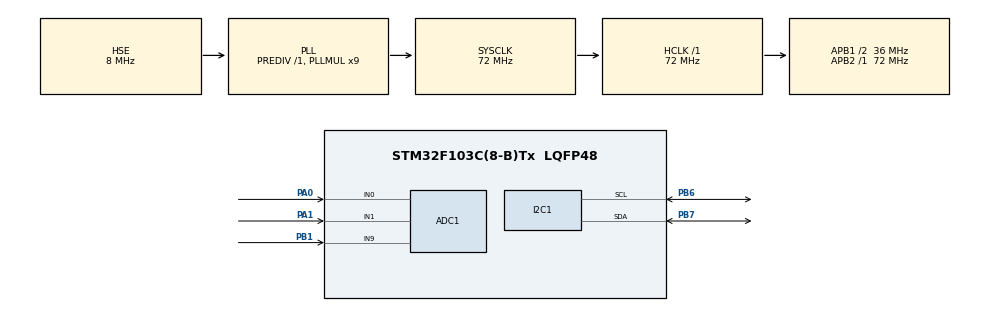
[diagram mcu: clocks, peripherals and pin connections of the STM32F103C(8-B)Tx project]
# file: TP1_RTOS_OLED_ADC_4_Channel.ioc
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ADC1.Channel-0\#ChannelRegularConversion=ADC_CHANNEL_0
ADC1.Channel-1\#ChannelRegularConversion=ADC_CHANNEL_1
ADC1.Channel-2\#ChannelRegularConversion=ADC_CHANNEL_9
ADC1.Channel-3\#ChannelRegularConversion=ADC_CHANNEL_TEMPSENSOR
ADC1.ContinuousConvMode=ENABLE
ADC1.NbrOfConversion=4
ADC1.NbrOfConversionFlag=1
ADC1.Rank-0\#ChannelRegularConversion=1
ADC1.Rank-1\#ChannelRegularConversion=2
ADC1.Rank-2\#ChannelRegularConversion=3
ADC1.Rank-3\#ChannelRegularConversion=4
ADC1.SamplingTime-0\#ChannelRegularConversion=ADC_SAMPLETIME_71CYCLES_5
ADC1.SamplingTime-1\#ChannelRegularConversion=ADC_SAMPLETIME_71CYCLES_5
ADC1.SamplingTime-2\#ChannelRegularConversion=ADC_SAMPLETIME_71CYCLES_5
ADC1.SamplingTime-3\#ChannelRegularConversion=ADC_SAMPLETIME_239CYCLES_5
ADC1.master=1
Dma.ADC1.0.Direction=DMA_PERIPH_TO_MEMORY
Dma.ADC1.0.Instance=DMA1_Channel1
Dma.ADC1.0.MemDataAlignment=DMA_MDATAALIGN_HALFWORD
Dma.ADC1.0.MemInc=DMA_MINC_ENABLE
Dma.ADC1.0.Mode=DMA_NORMAL
Dma.ADC1.0.PeriphDataAlignment=DMA_PDATAALIGN_HALFWORD
Dma.ADC1.0.PeriphInc=DMA_PINC_DISABLE
Dma.ADC1.0.Priority=DMA_PRIORITY_LOW
Dma.Request0=ADC1
FREERTOS.Queues01=QmsgScreen,16,uint16_t,0,Dynamic,NULL,NULL
FREERTOS.Tasks01=defaultTask,24,128,StartDefaultTask,Default,NULL,Dynamic,NULL,NULL;myTask02,8,128,ADC_Read,Default,NULL,Dynamic,NULL,NULL;myTask03,8,128,OLED_Update,Default,NULL,Dynamic,NULL,NULL
FREERTOS.configUSE_NEWLIB_REENTRANT=1
I2C1.I2C_Mode=I2C_Fast
Mcu.Family=STM32F1
Mcu.Name=STM32F103C(8-B)Tx
Mcu.Package=LQFP48
NVIC.DMA1_Channel1_IRQn=true\:5\:0\:false\:false\:true\:true\:false\:true\:true
NVIC.PriorityGroup=NVIC_PRIORITYGROUP_4
PA0-WKUP.Signal=ADCx_IN0
PA1.Signal=ADCx_IN1
PA13.Mode=Serial_Wire
PA13.Signal=SYS_JTMS-SWDIO
PA14.Mode=Serial_Wire
PA14.Signal=SYS_JTCK-SWCLK
PB1.Signal=ADCx_IN9
PB6.Mode=I2C
PB6.Signal=I2C1_SCL
PB7.Mode=I2C
PB7.Signal=I2C1_SDA
PD0-OSC_IN.Mode=HSE-External-Oscillator
PD0-OSC_IN.Signal=RCC_OSC_IN
PD1-OSC_OUT.Mode=HSE-External-Oscillator
PD1-OSC_OUT.Signal=RCC_OSC_OUT
ProjectManager.HeapSize=0x200
ProjectManager.StackSize=0x400
ProjectManager.TargetToolchain=STM32CubeIDE
RCC.ADCPresc=RCC_ADCPCLK2_DIV6
RCC.AHBFreq_Value=72000000
RCC.APB1CLKDivider=RCC_HCLK_DIV2
RCC.APB1Freq_Value=36000000
RCC.APB1TimFreq_Value=72000000
RCC.APB2Freq_Value=72000000
RCC.APB2TimFreq_Value=72000000
RCC.HCLKFreq_Value=72000000
RCC.PLLMUL=RCC_PLL_MUL9
RCC.PLLSourceVirtual=RCC_PLLSOURCE_HSE
RCC.SYSCLKFreq_VALUE=72000000
RCC.SYSCLKSource=RCC_SYSCLKSOURCE_PLLCLK
RCC.USBFreq_Value=72000000
SH.ADCx_IN0.0=ADC1_IN0,IN0
SH.ADCx_IN1.0=ADC1_IN1,IN1
SH.ADCx_IN9.0=ADC1_IN9,IN9
VP_ADC1_TempSens_Input.Mode=IN-TempSens
VP_FREERTOS_VS_CMSIS_V2.Mode=CMSIS_V2
board=custom

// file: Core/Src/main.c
/* USER CODE BEGIN Header */
/**
  ******************************************************************************
  * @file           : main.c
  * @brief          : Main program body
  ******************************************************************************
  * @attention
  *
  * Copyright (c) 2023 STMicroelectronics.
  * All rights reserved.
  *
  * This software is licensed under terms that can be found in the LICENSE file
  * in the root directory of this software component.
  * If no LICENSE file comes with this software, it is provided AS-IS.
  *
  ******************************************************************************
  */
/* USER CODE END Header */
#include "main.h"
#include "cmsis_os.h"
#include <stdio.h>

/* USER CODE BEGIN Includes */
#include "u8g_com_arm_stm32.h"
/* USER CODE END Includes */

ADC_HandleTypeDef hadc1;

I2C_HandleTypeDef hi2c1;

/* Definitions for defaultTask */
osThreadId_t defaultTaskHandle;
const osThreadAttr_t defaultTask_attributes = {
  .name = "defaultTask",
  .stack_size = 128 * 4,
  .priority = (osPriority_t) osPriorityNormal,
};
/* Definitions for myTask02 */
osThreadId_t myTask02Handle;
const osThreadAttr_t myTask02_attributes = {
  .name = "myTask02",
  .stack_size = 128 * 4,
  .priority = (osPriority_t) osPriorityLow,
};
/* Definitions for myTask03 */
osThreadId_t myTask03Handle;
const osThreadAttr_t myTask03_attributes = {
  .name = "myTask03",
  .stack_size = 128 * 4,
  .priority = (osPriority_t) osPriorityLow,
};
/* Definitions for QmsgScreen */
osMessageQueueId_t QmsgScreenHandle;
const osMessageQueueAttr_t QmsgScreen_attributes = {
  .name = "QmsgScreen"
};

void SystemClock_Config(void);
static void MX_GPIO_Init(void);
static void MX_ADC1_Init(void);
static void MX_I2C1_Init(void);
void StartDefaultTask(void *argument);
void ADC_Read(void *argument);
void OLED_Update(void *argument);

/* USER CODE BEGIN 0 */
void ADC_Select_CH0(void)
{
	ADC_ChannelConfTypeDef sConfig={0};

	sConfig.Channel = ADC_CHANNEL_0;
	sConfig.Rank = 1;
	sConfig.SamplingTime = ADC_SAMPLETIME_71CYCLES_5;
	if (HAL_ADC_ConfigChannel(&hadc1, &sConfig) != HAL_OK )
	{
		Error_Handler();
	}
}

void ADC_Select_CH1(void)
{
	ADC_ChannelConfTypeDef sConfig={0};

	sConfig.Channel = ADC_CHANNEL_1;
	sConfig.Rank = 1;
	sConfig.SamplingTime = ADC_SAMPLETIME_71CYCLES_5;
	if (HAL_ADC_ConfigChannel(&hadc1, &sConfig) != HAL_OK )
	{
		Error_Handler();
	}
}

void ADC_Select_CH9(void)
{
	ADC_ChannelConfTypeDef sConfig={0};

	sConfig.Channel = ADC_CHANNEL_9;
	sConfig.Rank = 1;
	sConfig.SamplingTime = ADC_SAMPLETIME_71CYCLES_5;
	if (HAL_ADC_ConfigChannel(&hadc1, &sConfig) != HAL_OK )
	{
		Error_Handler();
	}
}

void ADC_Select_CHTemp(void)
{
	ADC_ChannelConfTypeDef sConfig={0};

	sConfig.Channel = ADC_CHANNEL_TEMPSENSOR;
	sConfig.Rank = 1;
	sConfig.SamplingTime = ADC_SAMPLETIME_239CYCLES_5;
	if (HAL_ADC_ConfigChannel(&hadc1, &sConfig) != HAL_OK )
	{
		Error_Handler();
	}
}

uint16_t ADC_VAL[4];

#define Avg_Slope .0025
#define V25 0.76

float Temp = 0.0;
/* USER CODE END 0 */

int main(void)
{

  /* MCU Configuration--------------------------------------------------------*/

  /* Reset of all peripherals, Initializes the Flash interface and the Systick. */
  HAL_Init();

  /* Configure the system clock */
  SystemClock_Config();

  /* Initialize all configured peripherals */
  MX_GPIO_Init();
  MX_ADC1_Init();
  MX_I2C1_Init();

  /* Init scheduler */
  osKernelInitialize();

  /* Create the queue(s) */
  /* creation of QmsgScreen */
  QmsgScreenHandle = osMessageQueueNew (4, sizeof(uint16_t), &QmsgScreen_attributes);

  /* Create the thread(s) */
  /* creation of defaultTask */
  defaultTaskHandle = osThreadNew(StartDefaultTask, NULL, &defaultTask_attributes);

  /* creation of myTask02 */
  myTask02Handle = osThreadNew(ADC_Read, NULL, &myTask02_attributes);

  /* creation of myTask03 */
  myTask03Handle = osThreadNew(OLED_Update, NULL, &myTask03_attributes);

  /* Start scheduler */
  osKernelStart();

  /* We should never get here as control is now taken by the scheduler */
  /* Infinite loop */
  while (1)
  {

  }
}

void SystemClock_Config(void)
{
  RCC_OscInitTypeDef RCC_OscInitStruct = {0};
  RCC_ClkInitTypeDef RCC_ClkInitStruct = {0};
  RCC_PeriphCLKInitTypeDef PeriphClkInit = {0};

  /** Initializes the RCC Oscillators according to the specified parameters
  * in the RCC_OscInitTypeDef structure.
  */
  RCC_OscInitStruct.OscillatorType = RCC_OSCILLATORTYPE_HSE;
  RCC_OscInitStruct.HSEState = RCC_HSE_ON;
  RCC_OscInitStruct.HSEPredivValue = RCC_HSE_PREDIV_DIV1;
  RCC_OscInitStruct.HSIState = RCC_HSI_ON;
  RCC_OscInitStruct.PLL.PLLState = RCC_PLL_ON;
  RCC_OscInitStruct.PLL.PLLSource = RCC_PLLSOURCE_HSE;
  RCC_OscInitStruct.PLL.PLLMUL = RCC_PLL_MUL9;
  if (HAL_RCC_OscConfig(&RCC_OscInitStruct) != HAL_OK)
  {
    Error_Handler();
  }

  /** Initializes the CPU, AHB and APB buses clocks
  */
  RCC_ClkInitStruct.ClockType = RCC_CLOCKTYPE_HCLK|RCC_CLOCKTYPE_SYSCLK
                              |RCC_CLOCKTYPE_PCLK1|RCC_CLOCKTYPE_PCLK2;
  RCC_ClkInitStruct.SYSCLKSource = RCC_SYSCLKSOURCE_PLLCLK;
  RCC_ClkInitStruct.AHBCLKDivider = RCC_SYSCLK_DIV1;
  RCC_ClkInitStruct.APB1CLKDivider = RCC_HCLK_DIV2;
  RCC_ClkInitStruct.APB2CLKDivider = RCC_HCLK_DIV1;

  if (HAL_RCC_ClockConfig(&RCC_ClkInitStruct, FLASH_LATENCY_2) != HAL_OK)
  {
    Error_Handler();
  }
  PeriphClkInit.PeriphClockSelection = RCC_PERIPHCLK_ADC;
  PeriphClkInit.AdcClockSelection = RCC_ADCPCLK2_DIV6;
  if (HAL_RCCEx_PeriphCLKConfig(&PeriphClkInit) != HAL_OK)
  {
    Error_Handler();
  }
}

static void MX_ADC1_Init(void)
{

  //ADC_ChannelConfTypeDef sConfig = {0};

  /** Common config
  */
  hadc1.Instance = ADC1;
  hadc1.Init.ScanConvMode = ADC_SCAN_ENABLE;
  hadc1.Init.ContinuousConvMode = ENABLE;
  hadc1.Init.DiscontinuousConvMode = DISABLE;
  hadc1.Init.ExternalTrigConv = ADC_SOFTWARE_START;
  hadc1.Init.DataAlign = ADC_DATAALIGN_RIGHT;
  hadc1.Init.NbrOfConversion = 1;
  if (HAL_ADC_Init(&hadc1) != HAL_OK)
  {
    Error_Handler();
  }

}

static void MX_I2C1_Init(void)
{

  hi2c1.Instance = I2C1;
  hi2c1.Init.ClockSpeed = 400000;
  hi2c1.Init.DutyCycle = I2C_DUTYCYCLE_2;
  hi2c1.Init.OwnAddress1 = 0;
  hi2c1.Init.AddressingMode = I2C_ADDRESSINGMODE_7BIT;
  hi2c1.Init.DualAddressMode = I2C_DUALADDRESS_DISABLE;
  hi2c1.Init.OwnAddress2 = 0;
  hi2c1.Init.GeneralCallMode = I2C_GENERALCALL_DISABLE;
  hi2c1.Init.NoStretchMode = I2C_NOSTRETCH_DISABLE;
  if (HAL_I2C_Init(&hi2c1) != HAL_OK)
  {
    Error_Handler();
  }

}

static void MX_GPIO_Init(void)
{

  /* GPIO Ports Clock Enable */
  __HAL_RCC_GPIOD_CLK_ENABLE();
  __HAL_RCC_GPIOA_CLK_ENABLE();
  __HAL_RCC_GPIOB_CLK_ENABLE();

}

void StartDefaultTask(void *argument)
{
  for(;;)
  {
    osDelay(1);
  }
}

void ADC_Read(void *argument)
{
  /* USER CODE BEGIN ADC_Read */
  /* Infinite loop */
  for(;;)
  {
	  ADC_Select_CH0();
	  HAL_ADC_Start(&hadc1);
	  HAL_ADC_PollForConversion(&hadc1, 1000);
	  ADC_VAL[0] = HAL_ADC_GetValue(&hadc1);
	  HAL_ADC_Stop(&hadc1);
	  osDelay(1);
	  ADC_Select_CH1();
	  HAL_ADC_Start(&hadc1);
	  HAL_ADC_PollForConversion(&hadc1, 1000);
	  ADC_VAL[1] = HAL_ADC_GetValue(&hadc1);
	  HAL_ADC_Stop(&hadc1);
	  osDelay(1);
	  ADC_Select_CH9();
	  HAL_ADC_Start(&hadc1);
	  HAL_ADC_PollForConversion(&hadc1, 1000);
	  ADC_VAL[2] = HAL_ADC_GetValue(&hadc1);
	  HAL_ADC_Stop(&hadc1);
	  osDelay(1);
	  ADC_Select_CHTemp();
	  HAL_ADC_Start(&hadc1);
	  HAL_ADC_PollForConversion(&hadc1, 1000);
	  ADC_VAL[3] = HAL_ADC_GetValue(&hadc1);
	  HAL_ADC_Stop(&hadc1);
	  osDelay(10);

	  // Envio de datos a la Cola
	  if(osMessageQueueGetCount(QmsgScreenHandle) == 0)
	  {
		  osMessageQueuePut(QmsgScreenHandle, (void *)&ADC_VAL[0], 0, 10);
		  osMessageQueuePut(QmsgScreenHandle, (void *)&ADC_VAL[1], 0, 10);
		  osMessageQueuePut(QmsgScreenHandle, (void *)&ADC_VAL[2], 0, 10);
		  osMessageQueuePut(QmsgScreenHandle, (void *)&ADC_VAL[3], 0, 10);
	  }

  }
  /* USER CODE END ADC_Read */
}

void OLED_Update(void *argument)
{
  /* USER CODE BEGIN OLED_Update */
	uint16_t val_ch[4];
	uint16_t temperatura;
	char str_buff_0[27]={};
	char str_buff_1[27]={};
	char str_buff_2[27]={};
	char str_buff_3[27]={};
	u8g_t u8g;

	u8g_InitComFn(&u8g, &u8g_dev_ssd1306_128x64_i2c, u8g_com_arm_stm32_ssd_i2c_fn);
  /* Infinite loop */
  for(;;)
  {
		/*
	  u8g_FirstPage(&u8g);
		do {
			u8g_SetFont(&u8g, u8g_font_4x6);
			u8g_DrawStr(&u8g, 0, 22,  " 45 Hola !!!!!!   ");
			u8g_DrawStr(&u8g, 0, 36,  "    Dimas Aquí !!!");
		} while (u8g_NextPage(&u8g)); */

		//osDelay(1000);
	  if(osMessageQueueGetCount(QmsgScreenHandle) == 4)
	  {
	    osMessageQueueGet(QmsgScreenHandle, (void *)&val_ch[0], 0, 0);
	    sprintf(str_buff_0, "Canal 0: %d", val_ch[0]);
	    osMessageQueueGet(QmsgScreenHandle, (void *)&val_ch[1], 0, 0);
	    sprintf(str_buff_1, "Canal 1: %d", val_ch[1]);
	    osMessageQueueGet(QmsgScreenHandle, (void *)&val_ch[2], 0, 0);
	    sprintf(str_buff_2, "Canal 9: %d", val_ch[2]);
	    osMessageQueueGet(QmsgScreenHandle, (void *)&val_ch[3], 0, 0);
	    Temp = ((3.3*val_ch[3]/4095-V25)/Avg_Slope)+25;
	    temperatura = Temp/10;
	    sprintf(str_buff_3, "Temp   : %d", temperatura);
	  }

		u8g_FirstPage(&u8g);
		do {
			u8g_SetFont(&u8g, u8g_font_courB10);
			u8g_DrawStr(&u8g, 0, 10, str_buff_0);
			u8g_DrawStr(&u8g, 0, 25, str_buff_1);
			u8g_DrawStr(&u8g, 0, 40, str_buff_2);
			u8g_DrawStr(&u8g, 0, 55, str_buff_3);
		} while (u8g_NextPage(&u8g));

		osDelay(300);

		/*
		u8g_FirstPage(&u8g);
		do {
			u8g_SetFont(&u8g, u8g_font_freedoomr25n);
			u8g_DrawStr(&u8g, 0, 26, "123456");
			u8g_DrawStr(&u8g, 0, 64, " 78.90");
		} while (u8g_NextPage(&u8g));  */

	    //osDelay(300);
  }
  /* USER CODE END OLED_Update */
}

void Error_Handler(void)
{
  __disable_irq();
  while (1)
  {
  }
}
